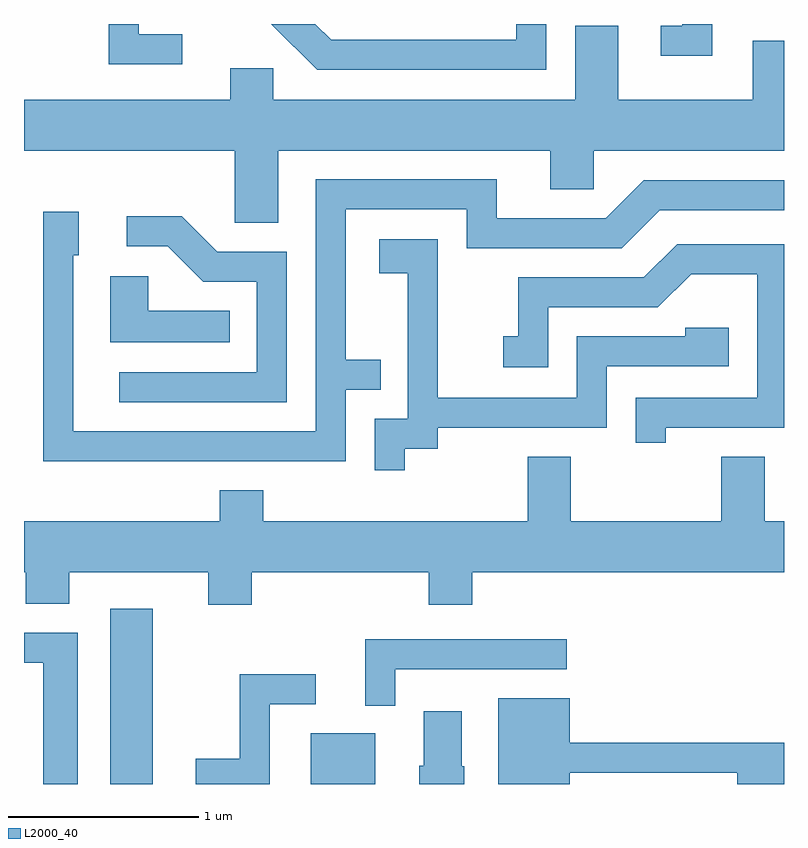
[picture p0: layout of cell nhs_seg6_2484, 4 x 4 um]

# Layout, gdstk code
import gdstk
lib = gdstk.Library(unit=1e-6, precision=1e-09)
def R(c, l, rs):  # rectangles x0, y0, x1, y1
    for r in rs: c.add(gdstk.rectangle(r[:2], r[2:], *l))
def P(c, l, *ps):  # polygons
    for p in ps: c.add(gdstk.Polygon(p, *l))
L2000_40 = (2000, 40)

nhs_seg6_2484 = lib.new_cell('nhs_seg6_2484')
R(nhs_seg6_2484, L2000_40, [(260.066,1642.162,260.289,1643.084), (261.121,1642.162,261.459,1642.429)])
P(nhs_seg6_2484, L2000_40, [(260.443,1646.109),(260.214,1646.109),(260.214,1646.162),(260.056,1646.162),(260.056,1645.951),(260.443,1645.951)],
  [(263.234,1646.162),(263.076,1646.162),(263.076,1646.154),(262.963,1646.154),(262.963,1645.996),(263.234,1645.996)],
  [(262.359,1646.162),(262.201,1646.162),(262.201,1646.079),(261.227,1646.079),(261.144,1646.162),(260.913,1646.162),(261.154,1645.921),(262.359,1645.921)],
  [(260.949,1645.496),(262.381,1645.496),(262.381,1645.291),(262.609,1645.291),(262.609,1645.496),(263.611,1645.496),(263.611,1646.074),(263.446,1646.074),(263.446,1645.764),(262.739,1645.764),(262.739,1646.154),(262.511,1646.154),(262.511,1645.764),(260.924,1645.764),(260.924,1645.929),(260.696,1645.929),(260.696,1645.764),(259.611,1645.764),(259.611,1645.496),(260.721,1645.496),(260.721,1645.116),(260.949,1645.116)],
  [(261.304,1644.236),(261.488,1644.236),(261.488,1644.394),(261.304,1644.394),(261.304,1645.186),(261.941,1645.186),(261.941,1644.981),(262.757,1644.981),(262.957,1645.181),(263.611,1645.181),(263.611,1645.339),(262.874,1645.339),(262.674,1645.139),(262.099,1645.139),(262.099,1645.344),(261.146,1645.344),(261.146,1644.019),(259.869,1644.019),(259.869,1644.946),(259.899,1644.946),(259.899,1645.174),(259.711,1645.174),(259.711,1643.861),(261.304,1643.861)],
  [(260.994,1644.964),(260.627,1644.964),(260.442,1645.149),(260.153,1645.149),(260.153,1644.991),(260.368,1644.991),(260.554,1644.806),(260.836,1644.806),(260.836,1644.329),(260.113,1644.329),(260.113,1644.171),(260.994,1644.171)],
  [(261.614,1643.926),(261.789,1643.926),(261.789,1644.036),(262.679,1644.036),(262.679,1644.361),(263.319,1644.361),(263.319,1644.564),(263.091,1644.564),(263.091,1644.519),(262.521,1644.519),(262.521,1644.194),(261.789,1644.194),(261.789,1645.029),(261.481,1645.029),(261.481,1644.851),(261.631,1644.851),(261.631,1644.084),(261.456,1644.084),(261.456,1643.813),(261.614,1643.813)],
  [(262.989,1644.036),(263.611,1644.036),(263.611,1645.004),(263.049,1645.004),(262.874,1644.829),(262.211,1644.829),(262.211,1644.519),(262.133,1644.519),(262.133,1644.356),(262.369,1644.356),(262.369,1644.671),(262.947,1644.671),(263.122,1644.846),(263.471,1644.846),(263.471,1644.194),(262.831,1644.194),(262.831,1643.958),(262.989,1643.958)],
  [(260.693,1644.654),(260.264,1644.654),(260.264,1644.834),(260.066,1644.834),(260.066,1644.486),(260.693,1644.486)],
  [(260.809,1643.276),(261.741,1643.276),(261.741,1643.106),(261.969,1643.106),(261.969,1643.276),(263.611,1643.276),(263.611,1643.544),(263.509,1643.544),(263.509,1643.884),(263.281,1643.884),(263.281,1643.544),(262.489,1643.544),(262.489,1643.884),(262.261,1643.884),(262.261,1643.544),(260.869,1643.544),(260.869,1643.709),(260.641,1643.709),(260.641,1643.544),(259.611,1643.544),(259.611,1643.276),(259.621,1643.276),(259.621,1643.111),(259.849,1643.111),(259.849,1643.276),(260.581,1643.276),(260.581,1643.106),(260.809,1643.106)],
  [(259.894,1642.959),(259.611,1642.959),(259.611,1642.801),(259.711,1642.801),(259.711,1642.162),(259.894,1642.162)],
  [(261.564,1642.766),(262.468,1642.766),(262.468,1642.924),(261.406,1642.924),(261.406,1642.573),(261.564,1642.573)],
  [(260.904,1642.581),(261.147,1642.581),(261.147,1642.739),(260.746,1642.739),(260.746,1642.294),(260.516,1642.294),(260.516,1642.162),(260.904,1642.162)],
  [(262.484,1642.221),(263.366,1642.221),(263.366,1642.162),(263.611,1642.162),(263.611,1642.379),(262.484,1642.379),(262.484,1642.614),(262.106,1642.614),(262.106,1642.162),(262.484,1642.162)],
  [(261.929,1642.255),(261.914,1642.255),(261.914,1642.544),(261.716,1642.544),(261.716,1642.259),(261.691,1642.259),(261.691,1642.162),(261.929,1642.162)])

lib.write_gds('nhs_seg6_2484.gds')
